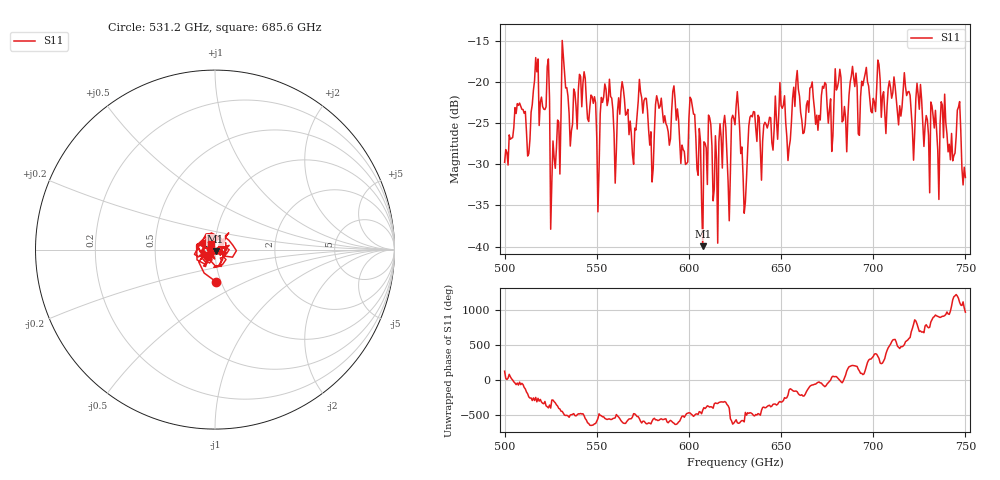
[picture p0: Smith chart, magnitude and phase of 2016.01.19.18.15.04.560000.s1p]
!Created with skrf (http://scikit-rf.org).
# GHz S RI R 50.0
!freq ReS11 ImS11
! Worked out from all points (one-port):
!   401 points, 500 GHz to 750 GHz, reference 50 ohm
!   lowest |S11| = -39.9 dB at 607.5 GHz (marker M1), VSWR 1.02, Z = 50.3 - j0.956 ohm
!   |S11| at or under -10 dB: start of sweep to end of sweep
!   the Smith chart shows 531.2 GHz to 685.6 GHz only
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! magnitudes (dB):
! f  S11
! 500 GHz  -29.8
! 506.9 GHz  -22.6
! 513.1 GHz  -28.7
! 516.9 GHz  -17.0
! 523.1 GHz  -18.1
! 526.2 GHz  -27.2
! 531.2 GHz  -15.0
! 548.1 GHz  -22.6
! 550.6 GHz  -35.8
! 553.8 GHz  -21.8
! 560 GHz  -32.3
! 562.5 GHz  -23.9
! 574.4 GHz  -21.9
! 580 GHz  -32.2
! 583.1 GHz  -22.3
! 593.8 GHz  -23.3
! 598.1 GHz  -30.0
! 601.9 GHz  -23.0
! 607.5 GHz  -39.9
! 621.9 GHz  -36.9
! 625 GHz  -25.2
! 630.6 GHz  -34.6
! 634.4 GHz  -24.2
! 656.2 GHz  -22.0
! 687.5 GHz  -20.0
! 718.8 GHz  -21.2
! 746.2 GHz  -23.1
! 750 GHz  -31.6
